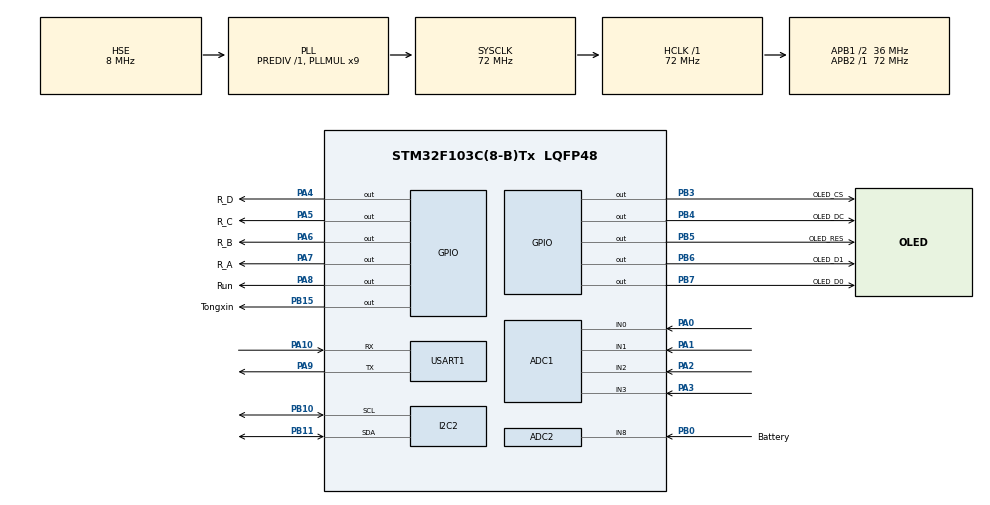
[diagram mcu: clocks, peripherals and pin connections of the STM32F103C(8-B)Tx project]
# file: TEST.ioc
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ADC1.Channel-0\#ChannelRegularConversion=ADC_CHANNEL_0
ADC1.Channel-1\#ChannelRegularConversion=ADC_CHANNEL_1
ADC1.Channel-2\#ChannelRegularConversion=ADC_CHANNEL_2
ADC1.Channel-3\#ChannelRegularConversion=ADC_CHANNEL_3
ADC1.NbrOfConversion=4
ADC1.NbrOfConversionFlag=1
ADC1.Rank-0\#ChannelRegularConversion=1
ADC1.Rank-1\#ChannelRegularConversion=2
ADC1.Rank-2\#ChannelRegularConversion=3
ADC1.Rank-3\#ChannelRegularConversion=4
ADC1.SamplingTime-0\#ChannelRegularConversion=ADC_SAMPLETIME_7CYCLES_5
ADC1.SamplingTime-1\#ChannelRegularConversion=ADC_SAMPLETIME_7CYCLES_5
ADC1.SamplingTime-2\#ChannelRegularConversion=ADC_SAMPLETIME_7CYCLES_5
ADC1.SamplingTime-3\#ChannelRegularConversion=ADC_SAMPLETIME_7CYCLES_5
ADC1.master=1
ADC2.Channel-1\#ChannelRegularConversion=ADC_CHANNEL_8
ADC2.NbrOfConversionFlag=1
ADC2.Rank-1\#ChannelRegularConversion=1
ADC2.SamplingTime-1\#ChannelRegularConversion=ADC_SAMPLETIME_7CYCLES_5
Dma.ADC1.0.Direction=DMA_PERIPH_TO_MEMORY
Dma.ADC1.0.Instance=DMA1_Channel1
Dma.ADC1.0.MemDataAlignment=DMA_MDATAALIGN_HALFWORD
Dma.ADC1.0.MemInc=DMA_MINC_ENABLE
Dma.ADC1.0.Mode=DMA_CIRCULAR
Dma.ADC1.0.PeriphDataAlignment=DMA_PDATAALIGN_HALFWORD
Dma.ADC1.0.PeriphInc=DMA_PINC_DISABLE
Dma.ADC1.0.Priority=DMA_PRIORITY_HIGH
Dma.Request0=ADC1
I2C2.I2C_Mode=I2C_Fast
Mcu.Family=STM32F1
Mcu.Name=STM32F103C(8-B)Tx
Mcu.Package=LQFP48
NVIC.DMA1_Channel1_IRQn=true\:0\:0\:false\:false\:true\:false\:true
NVIC.PriorityGroup=NVIC_PRIORITYGROUP_4
NVIC.TIM1_UP_IRQn=true\:0\:0\:false\:false\:true\:true\:true
PA0-WKUP.Signal=ADCx_IN0
PA1.Signal=ADCx_IN1
PA10.Mode=Asynchronous
PA10.Signal=USART1_RX
PA13.Mode=Serial_Wire
PA13.Signal=SYS_JTMS-SWDIO
PA14.Mode=Serial_Wire
PA14.Signal=SYS_JTCK-SWCLK
PA2.Signal=ADCx_IN2
PA3.Signal=ADCx_IN3
PA4.GPIO_Label=R_D
PA4.GPIO_Speed=GPIO_SPEED_FREQ_HIGH
PA4.Signal=GPIO_Output
PA5.GPIO_Label=R_C
PA5.GPIO_Speed=GPIO_SPEED_FREQ_HIGH
PA5.Signal=GPIO_Output
PA6.GPIO_Label=R_B
PA6.GPIO_Speed=GPIO_SPEED_FREQ_HIGH
PA6.PinState=GPIO_PIN_RESET
PA6.Signal=GPIO_Output
PA7.GPIO_Label=R_A
PA7.GPIO_Speed=GPIO_SPEED_FREQ_HIGH
PA7.PinState=GPIO_PIN_RESET
PA7.Signal=GPIO_Output
PA8.GPIO_Label=Run
PA8.GPIO_Speed=GPIO_SPEED_FREQ_HIGH
PA8.PinState=GPIO_PIN_RESET
PA8.Signal=GPIO_Output
PA9.Mode=Asynchronous
PA9.Signal=USART1_TX
PB0.GPIO_Label=Battery
PB0.Signal=ADCx_IN8
PB10.Mode=I2C
PB10.Signal=I2C2_SCL
PB11.Mode=I2C
PB11.Signal=I2C2_SDA
PB15.GPIO_Label=Tongxin
PB15.GPIO_Speed=GPIO_SPEED_FREQ_HIGH
PB15.Signal=GPIO_Output
PB3.GPIO_Label=OLED_CS
PB3.GPIO_Speed=GPIO_SPEED_FREQ_HIGH
PB3.PinState=GPIO_PIN_SET
PB3.Signal=GPIO_Output
PB4.GPIO_Label=OLED_DC
PB4.GPIO_Speed=GPIO_SPEED_FREQ_HIGH
PB4.Signal=GPIO_Output
PB5.GPIO_Label=OLED_RES
PB5.GPIO_Speed=GPIO_SPEED_FREQ_HIGH
PB5.Signal=GPIO_Output
PB6.GPIO_Label=OLED_D1
PB6.GPIO_Speed=GPIO_SPEED_FREQ_HIGH
PB6.Signal=GPIO_Output
PB7.GPIO_Label=OLED_D0
PB7.GPIO_Speed=GPIO_SPEED_FREQ_HIGH
PB7.PinState=GPIO_PIN_SET
PB7.Signal=GPIO_Output
PD0-OSC_IN.Mode=HSE-External-Oscillator
PD0-OSC_IN.Signal=RCC_OSC_IN
PD1-OSC_OUT.Mode=HSE-External-Oscillator
PD1-OSC_OUT.Signal=RCC_OSC_OUT
ProjectManager.HeapSize=0x200
ProjectManager.StackSize=0x400
ProjectManager.TargetToolchain=MDK-ARM V5
RCC.ADCPresc=RCC_ADCPCLK2_DIV6
RCC.AHBFreq_Value=72000000
RCC.APB1CLKDivider=RCC_HCLK_DIV2
RCC.APB1Freq_Value=36000000
RCC.APB1TimFreq_Value=72000000
RCC.APB2Freq_Value=72000000
RCC.APB2TimFreq_Value=72000000
RCC.HCLKFreq_Value=72000000
RCC.PLLMUL=RCC_PLL_MUL9
RCC.PLLSourceVirtual=RCC_PLLSOURCE_HSE
RCC.SYSCLKFreq_VALUE=72000000
RCC.SYSCLKSource=RCC_SYSCLKSOURCE_PLLCLK
RCC.USBFreq_Value=72000000
SH.ADCx_IN0.0=ADC1_IN0,IN0
SH.ADCx_IN1.0=ADC1_IN1,IN1
SH.ADCx_IN2.0=ADC1_IN2,IN2
SH.ADCx_IN3.0=ADC1_IN3,IN3
SH.ADCx_IN8.0=ADC2_IN8,IN8
TIM1.AutoReloadPreload=TIM_AUTORELOAD_PRELOAD_ENABLE
TIM1.Period=4999
TIM1.Prescaler=7199
USART1.VirtualMode=VM_ASYNC
VP_TIM1_VS_ClockSourceINT.Mode=Internal
board=custom

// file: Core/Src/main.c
/* USER CODE BEGIN Header */
/**
  ******************************************************************************
  * @file           : main.c
  * @brief          : Main program body
  ******************************************************************************
  * @attention
  *
  * Copyright (c) 2022 STMicroelectronics.
  * All rights reserved.
  *
  * This software is licensed under terms that can be found in the LICENSE file
  * in the root directory of this software component.
  * If no LICENSE file comes with this software, it is provided AS-IS.
  *
  ******************************************************************************
  */
/* USER CODE END Header */
#include "main.h"
#include "adc.h"
#include "dma.h"
#include "i2c.h"
#include "tim.h"
#include "usart.h"
#include "gpio.h"

/* USER CODE BEGIN Includes */
#include "oled.h"
#include "mpu6050.h"
#include "inv_mpu.h"
#include "inv_mpu_dmp_motion_driver.h"
/* USER CODE END Includes */

/* USER CODE BEGIN PV */
extern uint16_t Battery;//电池电压值
uint16_t ADC_ConvertedValue[4];//DMA存储数据的容器
uint16_t VoltageS[12][4];//阵列传感器的数据
volatile float pitch,roll,yaw;//欧拉角
uint8_t Row_list[4] = {1,0,3,2};//列顺序
//******************{7,6,8,5,9,4,10,3,11,2,12,1}//经过调试将前两列后最后，我也不知道为啥，但是work了！！
uint8_t Row_A[12] = {1,0,0,1,1,0,0, 1,1, 0,0, 1};
uint8_t Row_B[12] = {1,1,0,0,0,0,1, 1,1, 1,0, 0};
uint8_t Row_C[12] = {1,1,0,1,0,1,0, 0,0, 0,1, 0};
uint8_t Row_D[12] = {0,0,1,0,1,0,1, 0,1, 0,1, 0};//1~12
uint8_t MPU6050_Data_OK;//MPU6050数据可用标志位
uint8_t uart_buf_bat[2] = {0x00, 0x00};//串口发送电池电压容器
uint8_t uart_buf_v[2] = {0x00, 0x00};//串口发送阵列电压容器
uint8_t uart_buf_imu[3] = {0x00, 0x00, 0x00};//串口发送陀螺仪数据容器
/* USER CODE END PV */

void SystemClock_Config(void);
/* USER CODE BEGIN PFP */
void Adc_Battery(void);
void DMA_Adc_collect(void);
void delay_us(uint32_t us);
void MPU6050_Get_Data(void);
void OLED_Show(void);
void Data_upload(void);
/* USER CODE END PFP */

int main(void)
{

  /* MCU Configuration--------------------------------------------------------*/

  /* Reset of all peripherals, Initializes the Flash interface and the Systick. */
  HAL_Init();

  /* Configure the system clock */
  SystemClock_Config();

  /* Initialize all configured peripherals */
  MX_GPIO_Init();
  MX_ADC2_Init();
  MX_DMA_Init();
  MX_ADC1_Init();
  MX_I2C2_Init();
  MX_USART1_UART_Init();
  MX_TIM1_Init();
  /* USER CODE BEGIN 2 */
	HAL_TIM_Base_Start_IT(&htim1);

	HAL_ADCEx_Calibration_Start(&hadc1);//开启ADC校准
	HAL_ADCEx_Calibration_Start(&hadc2);

	OLED_Init();
	OLED_ColorTurn(0);//0正常显示，1 反色显示
  OLED_DisplayTurn(0);//0正常显示 1 屏幕翻转显示
	OLED_Refresh();

	MPU_Init();//初始化MPU6050

	while(mpu_dmp_init())
	{
	}//等待mpu_dmp初始化

  /* USER CODE END 2 */

  /* Infinite loop */
  /* USER CODE BEGIN WHILE */
  while (1)
  {
		DMA_Adc_collect();//获取压力传感器电压
		MPU6050_Get_Data();//获取陀螺仪数据
		OLED_Show();//数据展示
		Data_upload();//数据上传

		HAL_GPIO_TogglePin(GPIOA,Run_Pin);
    /* USER CODE END WHILE */

  }
}

void SystemClock_Config(void)
{
  RCC_OscInitTypeDef RCC_OscInitStruct = {0};
  RCC_ClkInitTypeDef RCC_ClkInitStruct = {0};
  RCC_PeriphCLKInitTypeDef PeriphClkInit = {0};

  /** Initializes the RCC Oscillators according to the specified parameters
  * in the RCC_OscInitTypeDef structure.
  */
  RCC_OscInitStruct.OscillatorType = RCC_OSCILLATORTYPE_HSE;
  RCC_OscInitStruct.HSEState = RCC_HSE_ON;
  RCC_OscInitStruct.HSEPredivValue = RCC_HSE_PREDIV_DIV1;
  RCC_OscInitStruct.HSIState = RCC_HSI_ON;
  RCC_OscInitStruct.PLL.PLLState = RCC_PLL_ON;
  RCC_OscInitStruct.PLL.PLLSource = RCC_PLLSOURCE_HSE;
  RCC_OscInitStruct.PLL.PLLMUL = RCC_PLL_MUL9;
  if (HAL_RCC_OscConfig(&RCC_OscInitStruct) != HAL_OK)
  {
    Error_Handler();
  }
  /** Initializes the CPU, AHB and APB buses clocks
  */
  RCC_ClkInitStruct.ClockType = RCC_CLOCKTYPE_HCLK|RCC_CLOCKTYPE_SYSCLK
                              |RCC_CLOCKTYPE_PCLK1|RCC_CLOCKTYPE_PCLK2;
  RCC_ClkInitStruct.SYSCLKSource = RCC_SYSCLKSOURCE_PLLCLK;
  RCC_ClkInitStruct.AHBCLKDivider = RCC_SYSCLK_DIV1;
  RCC_ClkInitStruct.APB1CLKDivider = RCC_HCLK_DIV2;
  RCC_ClkInitStruct.APB2CLKDivider = RCC_HCLK_DIV1;

  if (HAL_RCC_ClockConfig(&RCC_ClkInitStruct, FLASH_LATENCY_2) != HAL_OK)
  {
    Error_Handler();
  }
  PeriphClkInit.PeriphClockSelection = RCC_PERIPHCLK_ADC;
  PeriphClkInit.AdcClockSelection = RCC_ADCPCLK2_DIV6;
  if (HAL_RCCEx_PeriphCLKConfig(&PeriphClkInit) != HAL_OK)
  {
    Error_Handler();
  }
}

/* USER CODE BEGIN 4 */
//=============================================================================
//函数名称：Adc_Battery()
//功能概要：读取电池电压值
//参数说明：无
//函数返回：无
//=============================================================================
void Adc_Battery(void)
{
	HAL_ADC_Start(&hadc2);//启动ADC装换
	HAL_ADC_PollForConversion(&hadc2, 5);//等待转换完成，第二个参数表示超时时间，单位ms.
	if(HAL_IS_BIT_SET(HAL_ADC_GetState(&hadc2), HAL_ADC_STATE_REG_EOC))
	{
		Battery = HAL_ADC_GetValue(&hadc2);//读取ADC转换数据，数据为12位
		Battery = (float)Battery*(3.300/4096)*1000;
		Battery = Battery*4.0;
	}
}

//=============================================================================
//函数名称：DMA_Adc_collect()
//功能概要：读取DMA_AD值
//参数说明：无
//函数返回：无
//=============================================================================
void DMA_Adc_collect(void)
{
	uint8_t r,i,m;

	for(r=0; r<12; r++)//行
	{
		HAL_GPIO_WritePin(GPIOA, R_A_Pin, Row_A[0]);
		HAL_GPIO_WritePin(GPIOA, R_B_Pin, Row_B[0]);
		HAL_GPIO_WritePin(GPIOA, R_C_Pin, Row_C[0]);
		HAL_GPIO_WritePin(GPIOA, R_D_Pin, Row_D[0]);
		delay_us(50);
		HAL_ADC_Start_DMA(&hadc1, (uint32_t*)&ADC_ConvertedValue, 4);
		delay_us(50);
		for(i=0;i<4;i++)
		{
			m = Row_list[i];//列顺序
			VoltageS[r][m]=(uint16_t)((float)ADC_ConvertedValue[i]/4096*3.300*1000)%10000;
		}
	}
}

//=============================================================================
//函数名称：delay_us()
//功能概要：延时函数（单位us）
//参数说明：无
//函数返回：无
//=============================================================================
void delay_us(uint32_t us)
{
    uint32_t delay = (HAL_RCC_GetHCLKFreq() / 4000000 * us);
    while (delay--)
	{
		;
	}
}

//=============================================================================
//函数名称：MPU6050_Get_Data()
//功能概要：陀螺仪数据读取
//参数说明：无
//函数返回：无
//=============================================================================
void MPU6050_Get_Data(void)
{
	if(mpu_dmp_get_data(&pitch,&roll,&yaw)==0)
	{
		MPU6050_Data_OK = 1;
		uart_buf_imu[0] = pitch;
		uart_buf_imu[1] = roll;
		uart_buf_imu[2] = yaw;
	}
	else
	{
		MPU6050_Data_OK = 0;
	}
}

//=============================================================================
//函数名称：OLED_Show()
//功能概要：OLED展示
//参数说明：无
//函数返回：无
//=============================================================================
void OLED_Show(void)
{
	OLED_ShowString(0,0,"Battery",8,1);
	OLED_ShowNum(1,8,Battery,4,8,1);
	OLED_ShowNum(1,16,VoltageS[1][0],4,8,1);
	OLED_ShowNum(1,24,VoltageS[1][1],4,8,1);
	OLED_ShowNum(1,32,VoltageS[1][2],4,8,1);
	OLED_ShowNum(1,40,VoltageS[1][3],4,8,1);

	if(MPU6050_Data_OK)
	{
		OLED_ShowString(50,0,"IMU",8,1);
		OLED_ShowNum(50,8,pitch,4,8,1);
		OLED_ShowNum(50,16,roll,4,8,1);
		OLED_ShowNum(50,24,yaw,4,8,1);
	}

	OLED_Refresh();
}

//=============================================================================
//函数名称：Data_upload()
//功能概要：将数据通过串口上传到上位机
//参数说明：无
//函数返回：无
//=============================================================================
void Data_upload(void)
{
	uint8_t i, j;

	uart_buf_bat[0] = Battery>>8;//数据高位
	uart_buf_bat[1] = Battery&0xff;//数据低位
	HAL_UART_Transmit(&huart1, (uint8_t *)uart_buf_bat, 2, 1);//上传电池电压数据

	HAL_UART_Transmit(&huart1, (uint8_t *)uart_buf_imu, 3, 1);//上传陀螺仪数据

	for(i=0; i<4; i++)//列
	{
		for(j=0; j<12; j++)//行
		{
			uart_buf_v[0] = VoltageS[j][i]>>8;//数据高位
			uart_buf_v[0] = VoltageS[j][i]&0xff;//数据低位
			HAL_UART_Transmit(&huart1, (uint8_t *)uart_buf_v, 2, 1);//上传阵列数据
		}
	}
}
/* USER CODE END 4 */

void Error_Handler(void)
{
  __disable_irq();
  while (1)
  {
  }
}
